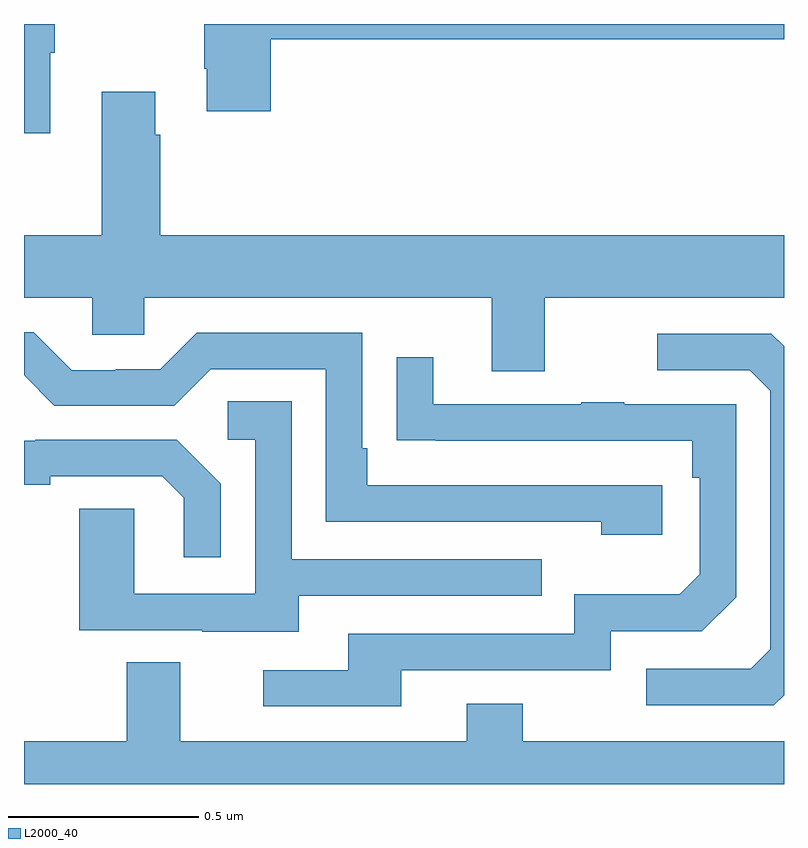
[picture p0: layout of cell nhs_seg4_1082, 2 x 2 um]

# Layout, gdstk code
import gdstk
lib = gdstk.Library(unit=1e-6, precision=1e-09)
def P(c, l, *ps):  # polygons
    for p in ps: c.add(gdstk.Polygon(p, *l))
L2000_40 = (2000, 40)

nhs_seg4_1082 = lib.new_cell('nhs_seg4_1082')
P(nhs_seg4_1082, L2000_40, [(124.069,770.825),(124.081,770.825),(124.081,770.9),(124,770.9),(124,770.613),(124.069,770.613)],
  [(124.649,770.86),(126,770.86),(126,770.9),(124.474,770.9),(124.474,770.782),(124.481,770.782),(124.481,770.67),(124.649,770.67)],
  [(125.371,770.18),(126,770.18),(126,770.344),(124.358,770.344),(124.358,770.609),(124.345,770.609),(124.345,770.722),(124.205,770.722),(124.205,770.344),(124,770.344),(124,770.18),(124.179,770.18),(124.179,770.082),(124.317,770.082),(124.317,770.18),(125.231,770.18),(125.231,769.986),(125.371,769.986)],
  [(125.68,769.686),(124.903,769.686),(124.903,769.783),(124.89,769.783),(124.89,770.088),(124.455,770.088),(124.359,769.992),(124.241,769.992),(124.241,769.989),(124.125,769.989),(124.025,770.089),(124,770.089),(124,769.976),(124.08,769.896),(124.395,769.896),(124.491,769.992),(124.794,769.992),(124.794,769.59),(125.519,769.59),(125.519,769.556),(125.68,769.556)],
  [(126,769.134),(126,770.052),(125.967,770.085),(125.667,770.085),(125.667,769.989),(125.91,769.989),(125.964,769.935),(125.964,769.254),(125.913,769.203),(125.637,769.203),(125.637,769.107),(125.973,769.107)],
  [(124.993,769.2),(125.544,769.2),(125.544,769.302),(125.784,769.302),(125.874,769.392),(125.874,769.899),(125.579,769.899),(125.579,769.904),(125.467,769.904),(125.467,769.899),(125.077,769.899),(125.077,770.023),(124.981,770.023),(124.981,769.804),(125.083,769.804),(125.083,769.803),(125.758,769.803),(125.758,769.706),(125.778,769.706),(125.778,769.452),(125.725,769.399),(125.448,769.399),(125.448,769.296),(124.853,769.296),(124.853,769.2),(124.629,769.2),(124.629,769.104),(124.993,769.104)],
  [(124.723,769.395),(125.363,769.395),(125.363,769.491),(124.704,769.491),(124.704,769.907),(124.536,769.907),(124.536,769.806),(124.608,769.806),(124.608,769.401),(124.29,769.401),(124.29,769.625),(124.145,769.625),(124.145,769.305),(124.469,769.305),(124.469,769.301),(124.723,769.301)],
  [(124.518,769.69),(124.402,769.806),(124.03,769.806),(124.03,769.803),(124,769.803),(124,769.688),(124.069,769.688),(124.069,769.71),(124.364,769.71),(124.421,769.653),(124.421,769.497),(124.518,769.497)],
  [(126,769.012),(125.313,769.012),(125.313,769.111),(125.165,769.111),(125.165,769.012),(124.411,769.012),(124.411,769.22),(124.271,769.22),(124.271,769.012),(124,769.012),(124,768.9),(126,768.9)])

lib.write_gds('nhs_seg4_1082.gds')
